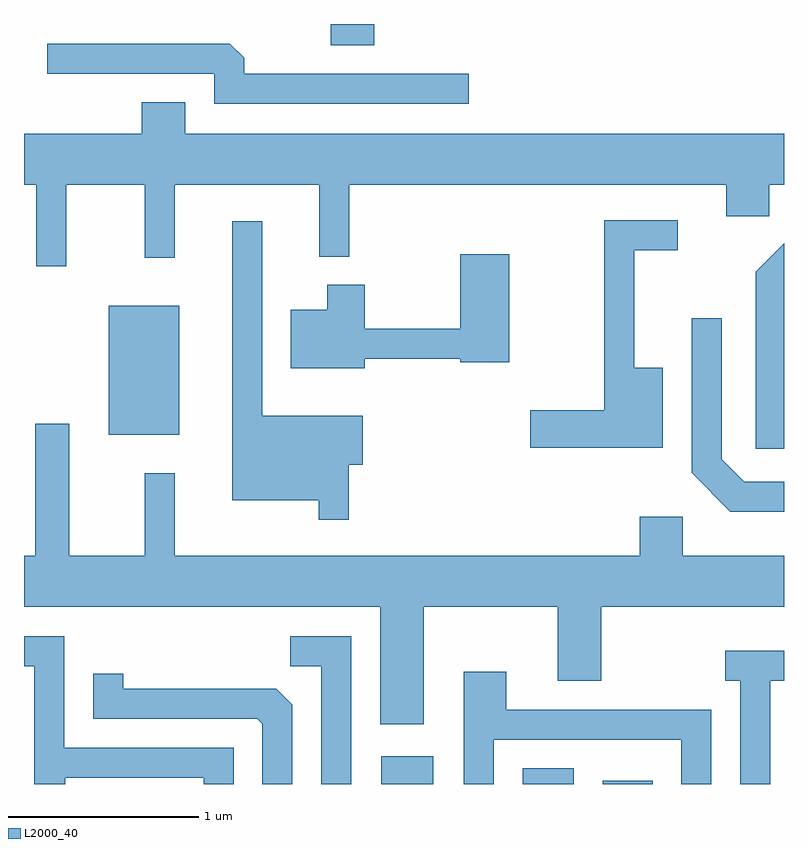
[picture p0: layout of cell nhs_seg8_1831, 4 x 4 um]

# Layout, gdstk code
import gdstk
lib = gdstk.Library(unit=1e-6, precision=1e-09)
def R(c, l, rs):  # rectangles x0, y0, x1, y1
    for r in rs: c.add(gdstk.rectangle(r[:2], r[2:], *l))
def P(c, l, *ps):  # polygons
    for p in ps: c.add(gdstk.Polygon(p, *l))
L2000_40 = (2000, 40)

nhs_seg8_1831 = lib.new_cell('nhs_seg8_1831')
R(nhs_seg8_1831, L2000_40, [(241.491,1864.342,241.764,1864.489), (242.236,1864.342,242.504,1864.424), (242.656,1864.342,242.919,1864.359), (240.056,1866.181,240.429,1866.859), (241.226,1868.231,241.454,1868.342)])
P(nhs_seg8_1831, L2000_40, [(241.953,1868.079),(240.769,1868.079),(240.769,1868.164),(240.694,1868.239),(239.733,1868.239),(239.733,1868.081),(240.611,1868.081),(240.611,1867.921),(241.953,1867.921)],
  [(239.834,1867.496),(240.246,1867.496),(240.246,1867.113),(240.404,1867.113),(240.404,1867.496),(241.166,1867.496),(241.166,1867.118),(241.324,1867.118),(241.324,1867.496),(243.306,1867.496),(243.306,1867.331),(243.534,1867.331),(243.534,1867.496),(243.611,1867.496),(243.611,1867.764),(240.459,1867.764),(240.459,1867.929),(240.231,1867.929),(240.231,1867.764),(239.611,1867.764),(239.611,1867.496),(239.676,1867.496),(239.676,1867.068),(239.834,1867.068)],
  [(242.974,1866.534),(242.824,1866.534),(242.824,1867.151),(243.053,1867.151),(243.053,1867.309),(242.666,1867.309),(242.666,1866.309),(242.276,1866.309),(242.276,1866.111),(242.974,1866.111)],
  [(241.319,1866.021),(241.394,1866.021),(241.394,1866.279),(240.864,1866.279),(240.864,1867.303),(240.706,1867.303),(240.706,1865.836),(241.161,1865.836),(241.161,1865.733),(241.319,1865.733)],
  [(243.611,1867.187),(243.461,1867.037),(243.461,1866.106),(243.611,1866.106)],
  [(241.404,1866.581),(241.906,1866.581),(241.906,1866.561),(242.164,1866.561),(242.164,1867.129),(241.906,1867.129),(241.906,1866.739),(241.404,1866.739),(241.404,1866.969),(241.206,1866.969),(241.206,1866.839),(241.016,1866.839),(241.016,1866.531),(241.404,1866.531)],
  [(243.611,1865.934),(243.402,1865.934),(243.284,1866.052),(243.284,1866.793),(243.126,1866.793),(243.126,1865.979),(243.329,1865.776),(243.611,1865.776)],
  [(241.714,1865.276),(242.421,1865.276),(242.421,1864.886),(242.649,1864.886),(242.649,1865.276),(243.611,1865.276),(243.611,1865.544),(243.079,1865.544),(243.079,1865.749),(242.851,1865.749),(242.851,1865.544),(240.404,1865.544),(240.404,1865.978),(240.246,1865.978),(240.246,1865.544),(239.849,1865.544),(239.849,1866.239),(239.671,1866.239),(239.671,1865.544),(239.611,1865.544),(239.611,1865.276),(241.486,1865.276),(241.486,1864.656),(241.714,1864.656)],
  [(239.829,1864.376),(240.556,1864.376),(240.556,1864.342),(240.714,1864.342),(240.714,1864.534),(239.824,1864.534),(239.824,1865.119),(239.611,1865.119),(239.611,1864.961),(239.666,1864.961),(239.666,1864.342),(239.829,1864.342)],
  [(241.334,1865.119),(241.013,1865.119),(241.013,1864.961),(241.176,1864.961),(241.176,1864.342),(241.334,1864.342)],
  [(243.539,1864.886),(243.611,1864.886),(243.611,1865.044),(243.303,1865.044),(243.303,1864.886),(243.381,1864.886),(243.381,1864.342),(243.539,1864.342)],
  [(242.084,1864.576),(243.071,1864.576),(243.071,1864.342),(243.229,1864.342),(243.229,1864.734),(242.149,1864.734),(242.149,1864.934),(241.926,1864.934),(241.926,1864.342),(242.084,1864.342)],
  [(241.024,1864.759),(240.939,1864.844),(240.134,1864.844),(240.134,1864.923),(239.976,1864.923),(239.976,1864.686),(240.839,1864.686),(240.866,1864.659),(240.866,1864.342),(241.024,1864.342)])

lib.write_gds('nhs_seg8_1831.gds')
